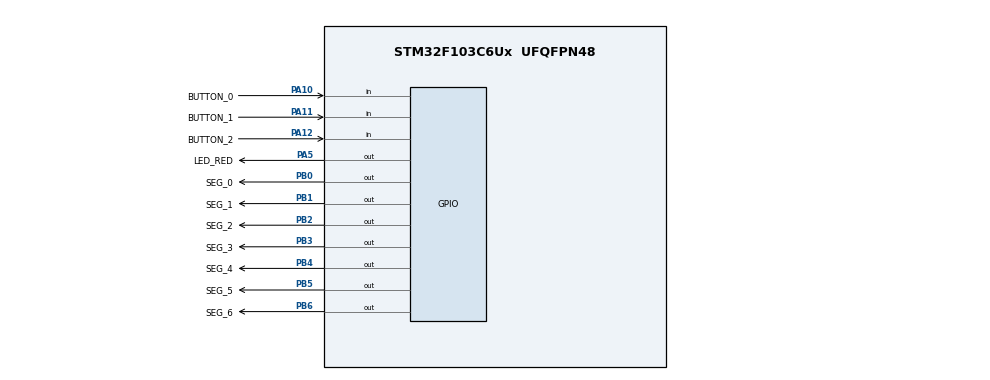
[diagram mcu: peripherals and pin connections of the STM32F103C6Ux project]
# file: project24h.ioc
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Mcu.Family=STM32F1
Mcu.Name=STM32F103C6Ux
Mcu.Package=UFQFPN48
NVIC.PriorityGroup=NVIC_PRIORITYGROUP_4
NVIC.TIM2_IRQn=true\:0\:0\:false\:false\:true\:true\:true
PA10.GPIO_Label=BUTTON_0
PA10.GPIO_PuPd=GPIO_PULLUP
PA10.Signal=GPIO_Input
PA11.GPIO_Label=BUTTON_1
PA11.GPIO_PuPd=GPIO_PULLUP
PA11.Signal=GPIO_Input
PA12.GPIO_Label=BUTTON_2
PA12.GPIO_PuPd=GPIO_PULLUP
PA12.Signal=GPIO_Input
PA5.GPIO_Label=LED_RED
PA5.Signal=GPIO_Output
PB0.GPIO_Label=SEG_0
PB0.Signal=GPIO_Output
PB1.GPIO_Label=SEG_1
PB1.Signal=GPIO_Output
PB2.GPIO_Label=SEG_2
PB2.Signal=GPIO_Output
PB3.GPIO_Label=SEG_3
PB3.Signal=GPIO_Output
PB4.GPIO_Label=SEG_4
PB4.Signal=GPIO_Output
PB5.GPIO_Label=SEG_5
PB5.Signal=GPIO_Output
PB6.GPIO_Label=SEG_6
PB6.Signal=GPIO_Output
ProjectManager.HeapSize=0x200
ProjectManager.StackSize=0x400
ProjectManager.TargetToolchain=STM32CubeIDE
RCC.APB1Freq_Value=8000000
RCC.APB2Freq_Value=8000000
TIM2.Period=10
TIM2.Prescaler=7999
VP_SYS_VS_ND.Mode=No_Debug
VP_TIM2_VS_ClockSourceINT.Mode=Internal
board=custom

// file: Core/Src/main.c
/* USER CODE BEGIN Header */
/**
 ******************************************************************************
 * @file           : main.c
 * @brief          : Main program body
 ******************************************************************************
 * @attention
 *
 * <h2><center>&copy; Copyright (c) 2022 STMicroelectronics.
 * All rights reserved.</center></h2>
 *
 * This software component is licensed by ST under BSD 3-Clause license,
 * the "License"; You may not use this file except in compliance with the
 * License. You may obtain a copy of the License at:
 *                        opensource.org/licenses/BSD-3-Clause
 *
 ******************************************************************************
 */
/* USER CODE END Header */
#include "main.h"

/* USER CODE BEGIN Includes */
#include"global.h"
#include"timer.h"
#include"button.h"
#include"fsm.h"
#include"fsm_long.h"
/* USER CODE END Includes */

TIM_HandleTypeDef htim2;

void SystemClock_Config(void);
static void MX_GPIO_Init(void);
static void MX_TIM2_Init(void);

int main(void)
{

  /* MCU Configuration--------------------------------------------------------*/

  /* Reset of all peripherals, Initializes the Flash interface and the Systick. */
  HAL_Init();

  /* Configure the system clock */
  SystemClock_Config();

  /* Initialize all configured peripherals */
  MX_GPIO_Init();
  MX_TIM2_Init();
  /* USER CODE BEGIN 2 */
	HAL_TIM_Base_Start_IT(&htim2);
  /* USER CODE END 2 */

  /* Infinite loop */
  /* USER CODE BEGIN WHILE */
	setTimer2(1000);
	while (1) {
		fsm_run();
		fsm_long_run();
		if(timer2_flag == 1){
			setTimer2(1000);
			HAL_GPIO_TogglePin(LED_RED_GPIO_Port, LED_RED_Pin);
		}
    /* USER CODE END WHILE */

	}
}

void SystemClock_Config(void)
{
  RCC_OscInitTypeDef RCC_OscInitStruct = {0};
  RCC_ClkInitTypeDef RCC_ClkInitStruct = {0};

  /** Initializes the RCC Oscillators according to the specified parameters
  * in the RCC_OscInitTypeDef structure.
  */
  RCC_OscInitStruct.OscillatorType = RCC_OSCILLATORTYPE_HSI;
  RCC_OscInitStruct.HSIState = RCC_HSI_ON;
  RCC_OscInitStruct.HSICalibrationValue = RCC_HSICALIBRATION_DEFAULT;
  RCC_OscInitStruct.PLL.PLLState = RCC_PLL_NONE;
  if (HAL_RCC_OscConfig(&RCC_OscInitStruct) != HAL_OK)
  {
    Error_Handler();
  }
  /** Initializes the CPU, AHB and APB buses clocks
  */
  RCC_ClkInitStruct.ClockType = RCC_CLOCKTYPE_HCLK|RCC_CLOCKTYPE_SYSCLK
                              |RCC_CLOCKTYPE_PCLK1|RCC_CLOCKTYPE_PCLK2;
  RCC_ClkInitStruct.SYSCLKSource = RCC_SYSCLKSOURCE_HSI;
  RCC_ClkInitStruct.AHBCLKDivider = RCC_SYSCLK_DIV1;
  RCC_ClkInitStruct.APB1CLKDivider = RCC_HCLK_DIV1;
  RCC_ClkInitStruct.APB2CLKDivider = RCC_HCLK_DIV1;

  if (HAL_RCC_ClockConfig(&RCC_ClkInitStruct, FLASH_LATENCY_0) != HAL_OK)
  {
    Error_Handler();
  }
}

static void MX_TIM2_Init(void)
{

  TIM_ClockConfigTypeDef sClockSourceConfig = {0};
  TIM_MasterConfigTypeDef sMasterConfig = {0};

  htim2.Instance = TIM2;
  htim2.Init.Prescaler = 7999;
  htim2.Init.CounterMode = TIM_COUNTERMODE_UP;
  htim2.Init.Period = 10;
  htim2.Init.ClockDivision = TIM_CLOCKDIVISION_DIV1;
  htim2.Init.AutoReloadPreload = TIM_AUTORELOAD_PRELOAD_DISABLE;
  if (HAL_TIM_Base_Init(&htim2) != HAL_OK)
  {
    Error_Handler();
  }
  sClockSourceConfig.ClockSource = TIM_CLOCKSOURCE_INTERNAL;
  if (HAL_TIM_ConfigClockSource(&htim2, &sClockSourceConfig) != HAL_OK)
  {
    Error_Handler();
  }
  sMasterConfig.MasterOutputTrigger = TIM_TRGO_RESET;
  sMasterConfig.MasterSlaveMode = TIM_MASTERSLAVEMODE_DISABLE;
  if (HAL_TIMEx_MasterConfigSynchronization(&htim2, &sMasterConfig) != HAL_OK)
  {
    Error_Handler();
  }

}

static void MX_GPIO_Init(void)
{
  GPIO_InitTypeDef GPIO_InitStruct = {0};

  /* GPIO Ports Clock Enable */
  __HAL_RCC_GPIOA_CLK_ENABLE();
  __HAL_RCC_GPIOB_CLK_ENABLE();

  /*Configure GPIO pin Output Level */
  HAL_GPIO_WritePin(LED_RED_GPIO_Port, LED_RED_Pin, GPIO_PIN_RESET);

  /*Configure GPIO pin Output Level */
  HAL_GPIO_WritePin(GPIOB, SEG_0_Pin|SEG_1_Pin|SEG_2_Pin|SEG_3_Pin
                          |SEG_4_Pin|SEG_5_Pin|SEG_6_Pin, GPIO_PIN_RESET);

  /*Configure GPIO pin : LED_RED_Pin */
  GPIO_InitStruct.Pin = LED_RED_Pin;
  GPIO_InitStruct.Mode = GPIO_MODE_OUTPUT_PP;
  GPIO_InitStruct.Pull = GPIO_NOPULL;
  GPIO_InitStruct.Speed = GPIO_SPEED_FREQ_LOW;
  HAL_GPIO_Init(LED_RED_GPIO_Port, &GPIO_InitStruct);

  /*Configure GPIO pins : SEG_0_Pin SEG_1_Pin SEG_2_Pin SEG_3_Pin
                           SEG_4_Pin SEG_5_Pin SEG_6_Pin */
  GPIO_InitStruct.Pin = SEG_0_Pin|SEG_1_Pin|SEG_2_Pin|SEG_3_Pin
                          |SEG_4_Pin|SEG_5_Pin|SEG_6_Pin;
  GPIO_InitStruct.Mode = GPIO_MODE_OUTPUT_PP;
  GPIO_InitStruct.Pull = GPIO_NOPULL;
  GPIO_InitStruct.Speed = GPIO_SPEED_FREQ_LOW;
  HAL_GPIO_Init(GPIOB, &GPIO_InitStruct);

  /*Configure GPIO pins : BUTTON_0_Pin BUTTON_1_Pin BUTTON_2_Pin */
  GPIO_InitStruct.Pin = BUTTON_0_Pin|BUTTON_1_Pin|BUTTON_2_Pin;
  GPIO_InitStruct.Mode = GPIO_MODE_INPUT;
  GPIO_InitStruct.Pull = GPIO_PULLUP;
  HAL_GPIO_Init(GPIOA, &GPIO_InitStruct);

}

/* USER CODE BEGIN 4 */
void HAL_TIM_PeriodElapsedCallback(TIM_HandleTypeDef *htim) {
	getKeyInput();
	timerRun();
}
/* USER CODE END 4 */

void Error_Handler(void)
{
	__disable_irq();
	while (1) {
	}
}

/************************ (C) COPYRIGHT STMicroelectronics *****END OF FILE****/
